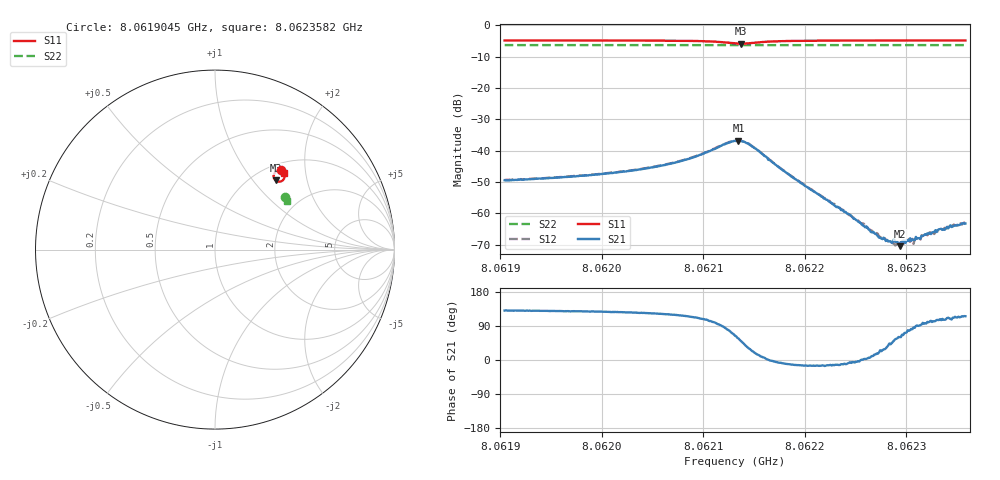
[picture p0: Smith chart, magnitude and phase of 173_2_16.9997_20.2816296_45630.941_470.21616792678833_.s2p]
#  HZ  S  RI  R  50.00
! Rohde & Schwarz Vector Network Analyzer
! Rohde-Schwarz,ZNB20-2Port,1311601062101988,3.16
! Created: UTC 3/20/2024, 10:59:50 PM
! freq[Hz]  re:S11  im:S11  re:S21  im:S21  re:S12  im:S12  re:S22  im:S22
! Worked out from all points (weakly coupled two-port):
!   401 points, 8.0619045 GHz to 8.0623582 GHz, reference 50 ohm
!   highest |S21| = -36.78 dB at 8.0621348 GHz (marker M1); lowest = -70.5 dB at 8.0622935 GHz (marker M2)
!   lowest |S11| = -5.8 dB at 8.062137 GHz (marker M3), VSWR 3.10, Z = 62.8 + j65.7 ohm
!   |S11| at or under -10 dB: nowhere
!   |S22| runs from -6.3 to -6.3 dB; largest |S21 - S12| = 0.0011
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8.06190453e9  0.3703 0.441  -0.0022 0.00257  -0.00206 0.00273  0.3876 0.2934
8.06198052e9  0.3763 0.4352  -0.00248 0.00312  -0.00233 0.00331  0.3902 0.2896
8.06202475e9  0.3805 0.4301  -0.00274 0.00383  -0.00257 0.00402  0.3917 0.2874
8.0620565e9  0.3842 0.4244  -0.00299 0.00482  -0.00279 0.00505  0.3928 0.2858
8.06208826e9  0.3877 0.4132  -0.00309 0.00701  -0.00275 0.00728  0.394 0.2834
8.06211434e9  0.3824 0.3914  -0.000922 0.0112  -0.000317 0.0115  0.3942 0.2815
8.06213135e9  0.3524 0.3787  0.00626 0.013  0.00702 0.0126  0.3931 0.2806
8.06213476e9  0.3434 0.3816  0.00793 0.0121  0.00883 0.0115  0.3928 0.2807
8.06213702e9  0.338 0.3852  0.00913 0.0111  0.00983 0.0105  0.3927 0.281
8.0621495e9  0.3271 0.4143  0.0106 0.00421  0.0109 0.00352  0.3933 0.2819
8.06218352e9  0.355 0.4394  0.0042 -0.000805  0.00414 -0.00105  0.3958 0.2808
8.06220734e9  0.3652 0.4387  0.00225 -0.00061  0.00226 -0.000739  0.397 0.2796
8.06224249e9  0.3731 0.4359  0.000967 -0.000146  0.000968 -0.000223  0.3983 0.2777
8.06227425e9  0.3777 0.4333  0.000367 0.000178  0.000394 0.000156  0.3996 0.2761
8.06228332e9  0.3787 0.4327  0.00026 0.000247  0.000272 0.000206  0.3997 0.2756
8.06228786e9  0.3792 0.4324  0.000244 0.0003  0.000226 0.000243  0.3999 0.2754
8.06229353e9  0.3799 0.432  0.000149 0.000261  0.000161 0.000303  0.4002 0.275
8.06230941e9  0.3814 0.4309  1.97e-06 0.000422  5.26e-05 0.000388  0.4007 0.2743
8.06231735e9  0.382 0.4303  -4.3e-05 0.000445  -7.35e-06 0.000473  0.401 0.2738
8.06233322e9  0.3836 0.4294  -0.000172 0.000536  -0.000146 0.000529  0.4015 0.273
8.0623457e9  0.3845 0.4284  -0.000226 0.000574  -0.000173 0.000623  0.4018 0.2724
8.06235817e9  0.3855 0.4277  -0.000297 0.000621  -0.000263 0.000632  0.4024 0.2717
